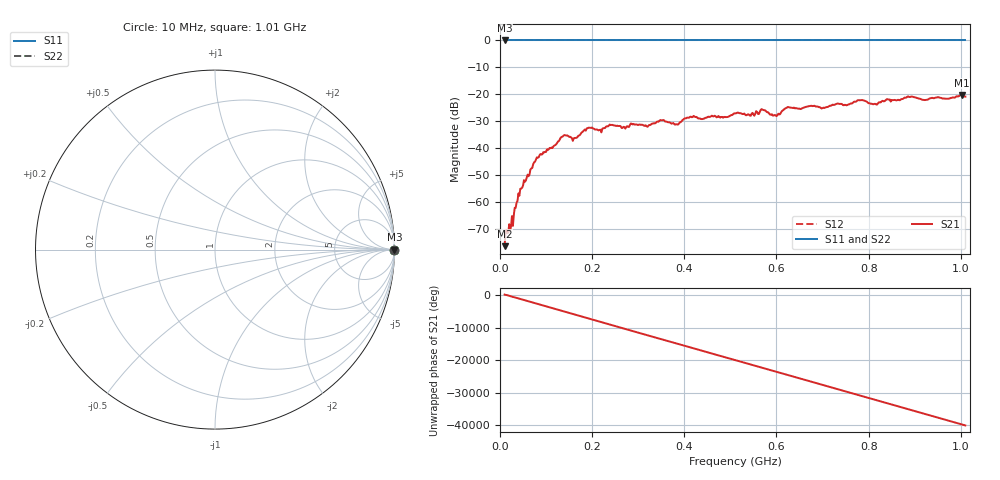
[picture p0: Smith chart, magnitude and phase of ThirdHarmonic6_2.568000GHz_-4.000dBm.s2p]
! 8/17/2025 5:21:18 AM
! C:\ANRITSUVNA\TEMP\TEMP.S2P
! CHANNEL.1
! TR.MEASUREMENT
! RAW.DATA
! RF.CORRECTION.OFF
! AVERAGING.OFF
! IF.BANDWIDTH: 5KHZ
! SWEEPTYPE:  FREQ.SWEEP(Linear)
! Reference Plane Port Info
! PORT:  PORT1  PORT2
! DISTANCE:  0  m  0  m
! TIME:  0  s  0  s
! PHASE.OFFSET:  0  deg.  0  deg.
! LOSS:  0  dB  0  dB
! REF.LOSS:  0  dB  0  dB
! REF.FREQ:  0  Hz  0  Hz
! Power Info
! POWER:  -20  dBm  -20  dBm
! EFF.POWER:  -20  dBm  -20  dBm
! SOURCE.ATTEN:  0  dB  0  dB
! TEST.ATTEN:  0  dB  0  dB
# GHZ S RI R 50.0
! FREQ.GHZ  S11RE  S11IM  S21RE  S21IM  S12RE  S12IM  S22RE  S22IM
!; PortSelection: Port_12
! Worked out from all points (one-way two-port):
!   501 points, 10 MHz to 1.01 GHz, reference 50 ohm
!   highest |S21| = -20.24 dB at 1.002 GHz (marker M1); lowest = -76.5 dB at 10 MHz (marker M2)
!   lowest |S11| = 0.0 dB at 10 MHz (marker M3)
!   |S11| at or under -10 dB: nowhere
!   |S22| runs from 0.0 to 0.0 dB; largest |S21 - S12| = 1.1
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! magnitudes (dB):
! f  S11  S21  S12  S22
! 10 MHz  0.0  -76.5  0.0  0.0
! 16 MHz  0.0  -71.7  0.0  0.0
! 26 MHz  0.0  -65.3  0.0  0.0
! 44 MHz  0.0  -55.2  0.0  0.0
! 78 MHz  0.0  -44.3  0.0  0.0
! 136 MHz  0.0  -35.7  0.0  0.0
! 162 MHz  0.0  -36.3  0.0  0.0
! 178 MHz  0.0  -34.1  0.0  0.0
! 192 MHz  0.0  -32.5  0.0  0.0
! 318 MHz  0.0  -31.8  0.0  0.0
! 344 MHz  0.0  -30.2  0.0  0.0
! 384 MHz  0.0  -31.2  0.0  0.0
! 416 MHz  0.0  -28.5  0.0  0.0
! 510 MHz  0.0  -27.1  0.0  0.0
! 548 MHz  0.0  -26.9  0.0  0.0
! 570 MHz  0.0  -25.8  0.0  0.0
! 598 MHz  0.0  -27.8  0.0  0.0
! 624 MHz  0.0  -24.8  0.0  0.0
! 678 MHz  0.0  -24.4  0.0  0.0
! 844 MHz  0.0  -22.0  0.0  0.0
! 1.002 GHz  0.0  -20.2  0.0  0.0
! 1.01 GHz  0.0  -20.9  0.0  0.0
